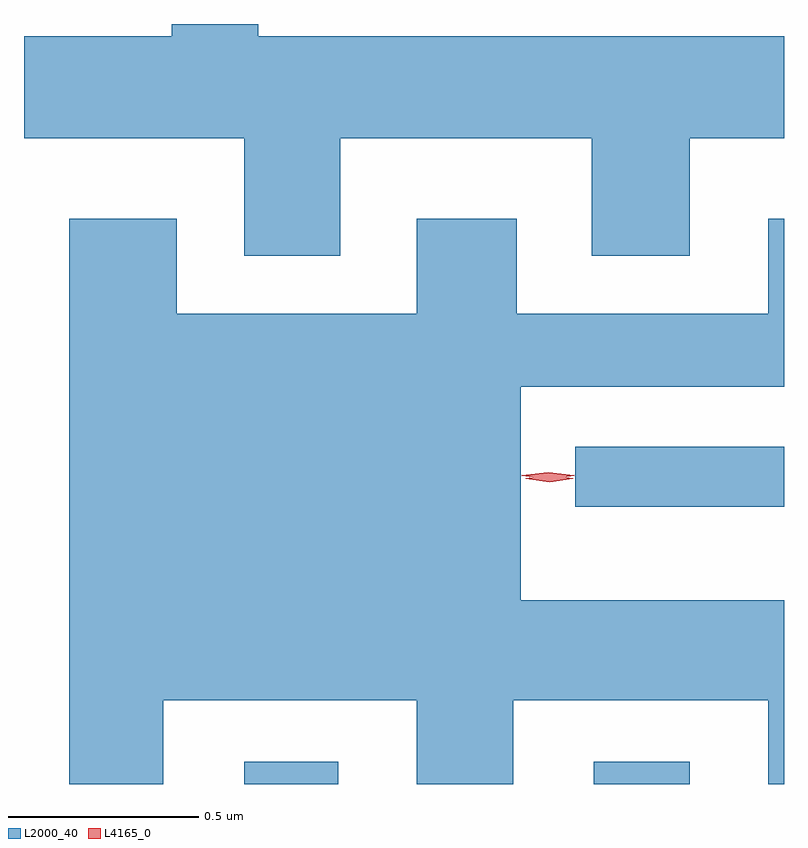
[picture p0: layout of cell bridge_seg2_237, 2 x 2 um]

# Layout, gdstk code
import gdstk
lib = gdstk.Library(unit=1e-6, precision=1e-09)
def R(c, l, rs):  # rectangles x0, y0, x1, y1
    for r in rs: c.add(gdstk.rectangle(r[:2], r[2:], *l))
def P(c, l, *ps):  # polygons
    for p in ps: c.add(gdstk.Polygon(p, *l))
L2000_40 = (2000, 40)
L4165_0 = (4165, 0)

bridge_seg2_237 = lib.new_cell('bridge_seg2_237')
R(bridge_seg2_237, L2000_40, [(602.671,1053.276,602.919,1053.334), (603.591,1053.276,603.844,1053.334), (603.543,1054.006,604.092,1054.164)])
P(bridge_seg2_237, L2000_40, [(602.924,1054.976),(603.586,1054.976),(603.586,1054.666),(603.844,1054.666),(603.844,1054.976),(604.092,1054.976),(604.092,1055.244),(602.709,1055.244),(602.709,1055.276),(602.481,1055.276),(602.481,1055.244),(602.092,1055.244),(602.092,1054.976),(602.671,1054.976),(602.671,1054.666),(602.924,1054.666)],
  [(602.459,1053.496),(603.126,1053.496),(603.126,1053.276),(603.379,1053.276),(603.379,1053.496),(604.051,1053.496),(604.051,1053.276),(604.092,1053.276),(604.092,1053.759),(603.399,1053.759),(603.399,1054.321),(604.092,1054.321),(604.092,1054.764),(604.051,1054.764),(604.051,1054.514),(603.389,1054.514),(603.389,1054.764),(603.126,1054.764),(603.126,1054.514),(602.494,1054.514),(602.494,1054.764),(602.211,1054.764),(602.211,1053.276),(602.459,1053.276)])
P(bridge_seg2_237, L4165_0, [(603.475,1054.07),(603.413,1054.079),(603.412,1054.08),(603.413,1054.08),(603.475,1054.09),(603.536,1054.08),(603.537,1054.08),(603.536,1054.079)],
  [(603.471,1054.078),(603.402,1054.087),(603.402,1054.088),(603.402,1054.088),(603.471,1054.097),(603.54,1054.088),(603.54,1054.087),(603.54,1054.087)])

lib.write_gds('bridge_seg2_237.gds')
